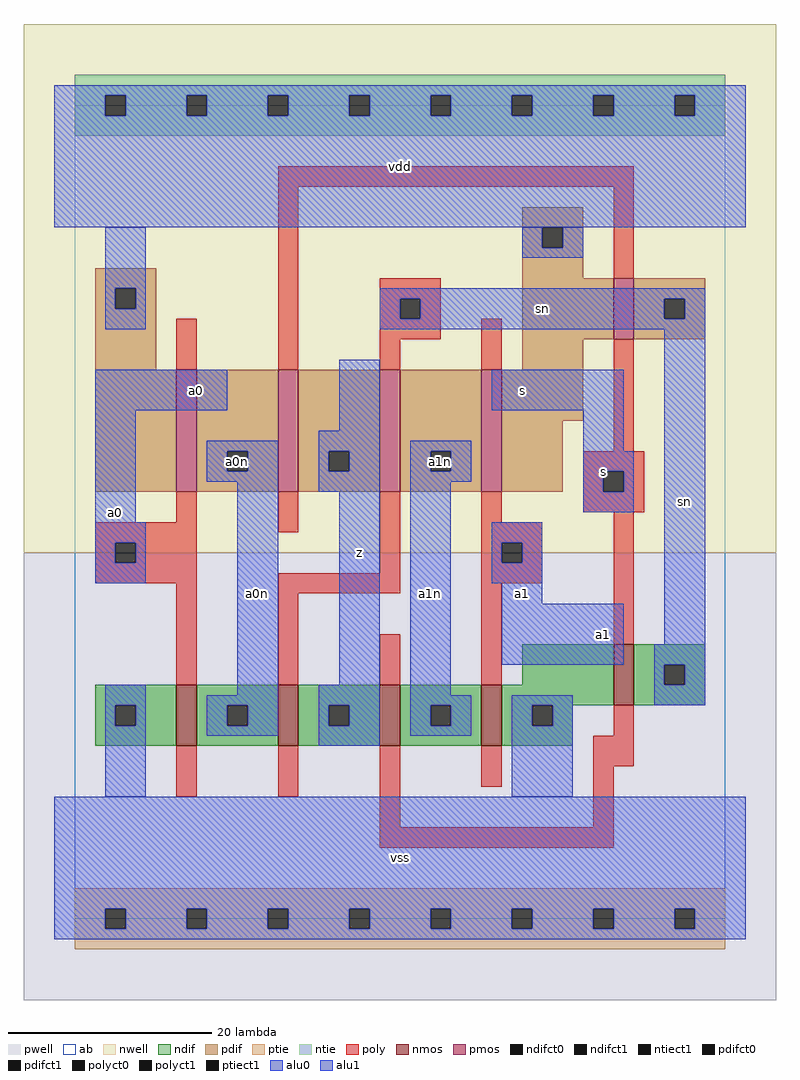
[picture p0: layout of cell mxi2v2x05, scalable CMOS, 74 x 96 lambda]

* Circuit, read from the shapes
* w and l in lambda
.subckt mxi2v2x05 a0 a0n a1 a1n s sn vdd vss z
M1 a0n a0 vss vss nfet w=6 l=2
M2 z sn a0n vss nfet w=6 l=2
M3 a1n s z vss nfet w=6 l=2
M4 vss a1 a1n vss nfet w=6 l=2
M5 sn s vss vss nfet w=6 l=2
M6 a0n a0 vdd vdd pfet w=12 l=2
M7 z s a0n vdd pfet w=12 l=2
M8 a1n sn z vdd pfet w=12 l=2
M9 vdd a1 a1n vdd pfet w=12 l=2
M10 sn s vdd vdd pfet w=6 l=2
.ends

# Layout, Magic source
magic
tech scmos
<< ab >>
rect 0 0 64 80
<< nwell >>
rect -5 36 69 88
<< pwell >>
rect -5 -8 69 36
<< poly >>
rect 20 72 55 74
rect 10 54 12 59
rect 20 54 22 72
rect 53 63 55 72
rect 30 61 36 63
rect 30 59 32 61
rect 34 59 36 61
rect 30 57 36 59
rect 30 54 32 57
rect 40 54 42 59
rect 53 46 55 57
rect 50 44 56 46
rect 50 42 52 44
rect 54 42 56 44
rect 10 39 12 42
rect 2 37 12 39
rect 20 38 22 42
rect 2 35 4 37
rect 6 35 12 37
rect 2 33 12 35
rect 30 34 32 42
rect 10 23 12 33
rect 20 32 32 34
rect 40 39 42 42
rect 50 40 56 42
rect 40 37 46 39
rect 40 35 42 37
rect 44 35 46 37
rect 40 33 46 35
rect 20 23 22 32
rect 30 23 32 28
rect 40 23 42 33
rect 53 27 55 40
rect 53 18 55 21
rect 10 12 12 17
rect 20 12 22 17
rect 30 9 32 17
rect 40 13 42 17
rect 51 15 55 18
rect 51 9 53 15
rect 30 7 53 9
<< ndif >>
rect 44 23 53 27
rect 2 21 10 23
rect 2 19 4 21
rect 6 19 10 21
rect 2 17 10 19
rect 12 21 20 23
rect 12 19 15 21
rect 17 19 20 21
rect 12 17 20 19
rect 22 21 30 23
rect 22 19 25 21
rect 27 19 30 21
rect 22 17 30 19
rect 32 21 40 23
rect 32 19 35 21
rect 37 19 40 21
rect 32 17 40 19
rect 42 21 53 23
rect 55 25 62 27
rect 55 23 58 25
rect 60 23 62 25
rect 55 21 62 23
rect 42 19 45 21
rect 47 19 49 21
rect 42 17 49 19
<< pdif >>
rect 2 62 8 64
rect 2 60 4 62
rect 6 60 8 62
rect 2 54 8 60
rect 44 68 50 70
rect 44 66 46 68
rect 48 66 50 68
rect 44 63 50 66
rect 44 57 53 63
rect 55 61 62 63
rect 55 59 58 61
rect 60 59 62 61
rect 55 57 62 59
rect 44 54 50 57
rect 2 42 10 54
rect 12 46 20 54
rect 12 44 15 46
rect 17 44 20 46
rect 12 42 20 44
rect 22 46 30 54
rect 22 44 25 46
rect 27 44 30 46
rect 22 42 30 44
rect 32 46 40 54
rect 32 44 35 46
rect 37 44 40 46
rect 32 42 40 44
rect 42 49 50 54
rect 42 42 48 49
<< alu1 >>
rect -2 81 66 82
rect -2 79 3 81
rect 5 79 11 81
rect 13 79 19 81
rect 21 79 27 81
rect 29 79 35 81
rect 37 79 43 81
rect 45 79 51 81
rect 53 79 59 81
rect 61 79 66 81
rect -2 68 66 79
rect 2 50 15 54
rect 2 39 6 50
rect 26 48 30 55
rect 41 50 54 54
rect 2 37 7 39
rect 2 35 4 37
rect 6 35 7 37
rect 2 33 7 35
rect 24 46 30 48
rect 24 44 25 46
rect 27 44 30 46
rect 24 42 30 44
rect 26 23 30 42
rect 24 21 30 23
rect 24 19 25 21
rect 27 19 30 21
rect 24 17 30 19
rect 50 46 54 50
rect 50 44 55 46
rect 50 42 52 44
rect 54 42 55 44
rect 50 40 55 42
rect 41 37 46 39
rect 41 35 42 37
rect 44 35 46 37
rect 41 33 46 35
rect 42 31 46 33
rect 42 25 54 31
rect -2 1 66 12
rect -2 -1 3 1
rect 5 -1 11 1
rect 13 -1 19 1
rect 21 -1 27 1
rect 29 -1 35 1
rect 37 -1 43 1
rect 45 -1 51 1
rect 53 -1 59 1
rect 61 -1 66 1
rect -2 -2 66 -1
<< ptie >>
rect 0 1 64 3
rect 0 -1 3 1
rect 5 -1 11 1
rect 13 -1 19 1
rect 21 -1 27 1
rect 29 -1 35 1
rect 37 -1 43 1
rect 45 -1 51 1
rect 53 -1 59 1
rect 61 -1 64 1
rect 0 -3 64 -1
<< ntie >>
rect 0 81 64 83
rect 0 79 3 81
rect 5 79 11 81
rect 13 79 19 81
rect 21 79 27 81
rect 29 79 35 81
rect 37 79 43 81
rect 45 79 51 81
rect 53 79 59 81
rect 61 79 64 81
rect 0 77 64 79
<< nmos >>
rect 10 17 12 23
rect 20 17 22 23
rect 30 17 32 23
rect 40 17 42 23
rect 53 21 55 27
<< pmos >>
rect 53 57 55 63
rect 10 42 12 54
rect 20 42 22 54
rect 30 42 32 54
rect 40 42 42 54
<< polyct0 >>
rect 32 59 34 61
<< polyct1 >>
rect 52 42 54 44
rect 4 35 6 37
rect 42 35 44 37
<< ndifct0 >>
rect 4 19 6 21
rect 15 19 17 21
rect 35 19 37 21
rect 58 23 60 25
rect 45 19 47 21
<< ndifct1 >>
rect 25 19 27 21
<< ntiect1 >>
rect 3 79 5 81
rect 11 79 13 81
rect 19 79 21 81
rect 27 79 29 81
rect 35 79 37 81
rect 43 79 45 81
rect 51 79 53 81
rect 59 79 61 81
<< ptiect1 >>
rect 3 -1 5 1
rect 11 -1 13 1
rect 19 -1 21 1
rect 27 -1 29 1
rect 35 -1 37 1
rect 43 -1 45 1
rect 51 -1 53 1
rect 59 -1 61 1
<< pdifct0 >>
rect 4 60 6 62
rect 46 66 48 68
rect 58 59 60 61
rect 15 44 17 46
rect 35 44 37 46
<< pdifct1 >>
rect 25 44 27 46
<< alu0 >>
rect 3 62 7 68
rect 44 66 46 68
rect 48 66 50 68
rect 44 65 50 66
rect 3 60 4 62
rect 6 60 7 62
rect 3 58 7 60
rect 30 61 62 62
rect 30 59 32 61
rect 34 59 58 61
rect 60 59 62 61
rect 30 58 62 59
rect 13 46 20 47
rect 13 44 15 46
rect 17 44 20 46
rect 13 43 20 44
rect 3 21 7 23
rect 16 22 20 43
rect 3 19 4 21
rect 6 19 7 21
rect 3 12 7 19
rect 13 21 20 22
rect 13 19 15 21
rect 17 19 20 21
rect 13 18 20 19
rect 33 46 39 47
rect 33 44 35 46
rect 37 44 39 46
rect 33 43 39 44
rect 33 22 37 43
rect 58 27 62 58
rect 57 25 62 27
rect 57 23 58 25
rect 60 23 62 25
rect 33 21 39 22
rect 33 19 35 21
rect 37 19 39 21
rect 33 18 39 19
rect 43 21 49 22
rect 57 21 62 23
rect 43 19 45 21
rect 47 19 49 21
rect 43 12 49 19
<< labels >>
rlabel alu0 18 32 18 32 6 a0n
rlabel pdifct0 16 45 16 45 6 a0n
rlabel alu0 35 32 35 32 6 a1n
rlabel pdifct0 36 45 36 45 6 a1n
rlabel alu0 46 60 46 60 6 sn
rlabel alu0 60 41 60 41 6 sn
rlabel alu1 4 40 4 40 6 a0
rlabel alu1 12 52 12 52 6 a0
rlabel alu1 28 36 28 36 6 z
rlabel alu1 32 6 32 6 6 vss
rlabel alu1 44 32 44 32 6 a1
rlabel alu1 44 52 44 52 6 s
rlabel alu1 32 74 32 74 6 vdd
rlabel alu1 52 28 52 28 6 a1
rlabel alu1 52 44 52 44 6 s
<< end >>
